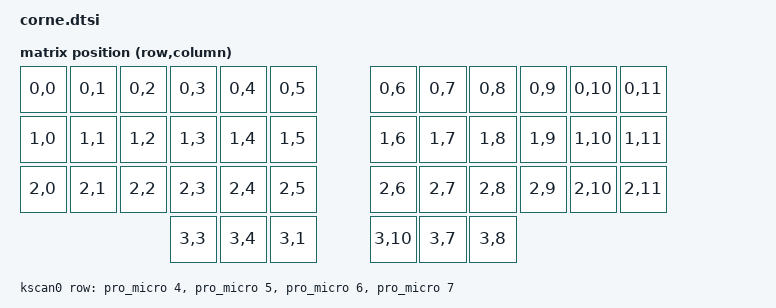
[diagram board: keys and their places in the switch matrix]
/*
 * Copyright (c) 2020 Pete Johanson
 *
 * SPDX-License-Identifier: MIT
 */
#include <dt-bindings/led/led.h>
#include <dt-bindings/zmk/matrix_transform.h>
#include "corne-layouts.dtsi"
/ {
	chosen {
		zmk,kscan = &kscan0;
		zmk,physical-layout = &layout_0;
	};

	default_transform: keymap_transform_0 {
		compatible = "zmk,matrix-transform";
		columns = <12>;
		rows = <4>;
// | SW1  | SW2  | SW3  | SW4  | SW5  | SW6  |   | SW6  | SW5  | SW4  | SW3  | SW2  | SW1  |
// | SW7  | SW8  | SW9  | SW10 | SW11 | SW12 |   | SW12 | SW11 | SW10 | SW9  | SW8  | SW7  |
// | SW13 | SW14 | SW15 | SW16 | SW17 | SW18 |   | SW18 | SW17 | SW16 | SW15 | SW14 | SW13 |
//                      | SW19 | SW20 | SW21 |   | SW21 | SW20 | SW19 |
		map = <
RC(0,0) RC(0,1) RC(0,2) RC(0,3) RC(0,4) RC(0,5)  RC(0,6)  RC(0,7) RC(0,8) RC(0,9) RC(0,10) RC(0,11)
RC(1,0) RC(1,1) RC(1,2) RC(1,3) RC(1,4) RC(1,5)  RC(1,6)  RC(1,7) RC(1,8) RC(1,9) RC(1,10) RC(1,11)
RC(2,0) RC(2,1) RC(2,2) RC(2,3) RC(2,4) RC(2,5)  RC(2,6)  RC(2,7) RC(2,8) RC(2,9) RC(2,10) RC(2,11)
                        RC(3,3) RC(3,4) RC(3,1)  RC(3,10) RC(3,7) RC(3,8)
		>;
	};

	 kscan0: kscan {
        compatible = "zmk,kscan-gpio-matrix";
        label = "KSCAN";

        diode-direction = "col2row";
		row-gpios
			= <&pro_micro 4 (GPIO_ACTIVE_HIGH | GPIO_PULL_DOWN)>
			, <&pro_micro 5 (GPIO_ACTIVE_HIGH | GPIO_PULL_DOWN)>
			, <&pro_micro 6 (GPIO_ACTIVE_HIGH | GPIO_PULL_DOWN)>
			, <&pro_micro 7 (GPIO_ACTIVE_HIGH | GPIO_PULL_DOWN)>
			;
    };

	// TODO: per-key RGB node(s)?

};
&pro_micro_i2c {
	status = "okay";
        sda-pin = <17>;
	scl-pin = <20>;

	oled: ssd1306@3c {
		compatible = "solomon,ssd1306fb";
		reg = <0x3c>;
		label = "DISPLAY";
		width = <128>;
		height = <32>;
		segment-offset = <0>;
		page-offset = <0>;
		display-offset = <0>;
		multiplex-ratio = <31>;
		segment-remap;
		com-invdir;
		com-sequential;
		prechargep = <0x22>;
	};
};


&spi1 {

  compatible = "nordic,nrf-spim";
	/* Cannot be used together with i2c0. */
	status = "okay";
	mosi-pin = <6>; //gpio 0.06
	// Unused pins, needed for SPI definition, but not used by the ws2812 driver itself.
	sck-pin = <5>;
	miso-pin = <7>;

  led_strip: ws2812@0 {
    compatible = "worldsemi,ws2812-spi";
    label = "WS2812";

    /* SPI */
    reg = <0>;
    spi-max-frequency = <5250000>;

    /* WS2812 */
    chain-length = <27>; /* number of LEDs */
    spi-one-frame = <0x70>; /* make sure to configure this properly for your SOC */
    spi-zero-frame = <0x40>; /* make sure to configure this properly for your SOC */
    color-mapping = <LED_COLOR_ID_GREEN
                          LED_COLOR_ID_RED
                          LED_COLOR_ID_BLUE>;
  };
};

/ {

	chosen {
		zmk,underglow = &led_strip;
	};

};
